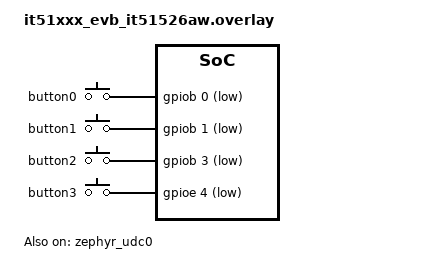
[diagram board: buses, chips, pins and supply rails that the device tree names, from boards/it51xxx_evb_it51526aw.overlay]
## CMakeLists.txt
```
# SPDX-License-Identifier: Apache-2.0

cmake_minimum_required(VERSION 3.20.0)
find_package(Zephyr REQUIRED HINTS $ENV{ZEPHYR_BASE})
project(hid-keyboard)

set(SAMPLE_USBD_DIR ${ZEPHYR_BASE}/samples/subsys/usb/common)
FILE(GLOB app_sources src/*.c)

target_include_directories(app PRIVATE ${SAMPLE_USBD_DIR})

target_sources(app PRIVATE ${app_sources})

target_sources_ifdef(CONFIG_USB_DEVICE_STACK_NEXT app PRIVATE
	${SAMPLE_USBD_DIR}/sample_usbd_init.c
)
```

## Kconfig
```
# Copyright (c) 2023 Nordic Semiconductor ASA
# SPDX-License-Identifier: Apache-2.0

# Source common USB sample options used to initialize new experimental USB
# device stack. You do not need to source this Kconfig file in your custom
# application.
source "samples/subsys/usb/common/Kconfig.sample_usbd"

source "Kconfig.zephyr"
```

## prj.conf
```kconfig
CONFIG_USB_DEVICE_STACK_NEXT=y
CONFIG_USBD_HID_SUPPORT=y

CONFIG_LOG=y
CONFIG_USBD_LOG_LEVEL_WRN=y
CONFIG_USBD_HID_LOG_LEVEL_DBG=y
CONFIG_UDC_DRIVER_LOG_LEVEL_WRN=y
CONFIG_SAMPLE_USBD_PID=0x0007
CONFIG_SAMPLE_USBD_REMOTE_WAKEUP=y

CONFIG_GPIO=y
CONFIG_INPUT=y
```

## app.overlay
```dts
/*
 * Copyright (c) 2023 Nordic Semiconductor ASA
 *
 * SPDX-License-Identifier: Apache-2.0
 */

/ {
	hid_dev_0: hid_dev_0 {
		compatible = "zephyr,hid-device";
		interface-name = "HID0";
		boot-protocol-code = "keyboard";
		polling-rate = <1>;
		in-report-size = <64>;
		out-report-size = <64>;
	};
};
```

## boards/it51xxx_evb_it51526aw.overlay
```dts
/*
 * Copyright (c) 2026 ITE Corporation. All Rights Reserved.
 *
 * SPDX-License-Identifier: Apache-2.0
 */

#include <zephyr/dt-bindings/input/input-event-codes.h>

/ {
	aliases {
		sw0 = &button0;
	};

	buttons {
		compatible = "gpio-keys";

		button0: button_0 {
			gpios = <&gpiob 0 (GPIO_PULL_UP | GPIO_ACTIVE_LOW)>;
			zephyr,code = <INPUT_KEY_0>;
		};
		button1: button_1 {
			gpios = <&gpiob 1 (GPIO_PULL_UP | GPIO_ACTIVE_LOW)>;
			zephyr,code = <INPUT_KEY_1>;
		};
		button2: button_2 {
			gpios = <&gpiob 3 (GPIO_PULL_UP | GPIO_ACTIVE_LOW)>;
			zephyr,code = <INPUT_KEY_2>;
		};
		button3: button_3 {
			gpios = <&gpioe 4 (GPIO_PULL_UP | GPIO_ACTIVE_LOW)>;
			zephyr,code = <INPUT_KEY_3>;
		};
	};

	hid_dev_0: hid_dev_0 {
		compatible = "zephyr,hid-device";
		label = "HID0";
		protocol-code = "keyboard";
		in-report-size = <64>;
		in-polling-period-us = <1000>;
	};
};

&zephyr_udc0 {
	status = "okay";
	pinctrl-0 = <&udc_dm_gpf4_default &udc_dp_gpf5_default>;
	pinctrl-names = "default";
};

&ecpm {
	pll-frequency = <PLL_96000_KHZ>;
};
```

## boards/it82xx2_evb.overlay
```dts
#include <zephyr/dt-bindings/input/input-event-codes.h>

/ {
	buttons {
		compatible = "gpio-keys";

		button_0 {
			gpios = <&gpioa 0 (GPIO_PULL_UP | GPIO_ACTIVE_LOW)>;
			zephyr,code = <INPUT_KEY_0>;
		};
		button_1 {
			gpios = <&gpioa 1 (GPIO_PULL_UP | GPIO_ACTIVE_LOW)>;
			zephyr,code = <INPUT_KEY_1>;
		};
		button_2 {
			gpios = <&gpioa 2 (GPIO_PULL_UP | GPIO_ACTIVE_LOW)>;
			zephyr,code = <INPUT_KEY_2>;
		};
		button_3 {
			gpios = <&gpioa 3 (GPIO_PULL_UP | GPIO_ACTIVE_LOW)>;
			zephyr,code = <INPUT_KEY_3>;
		};
	};

	hid_dev_0: hid_dev_0 {
		compatible = "zephyr,hid-device";
		label = "HID0";
		protocol-code = "keyboard";
		in-report-size = <64>;
		in-polling-period-us = <1000>;
	};
};
```

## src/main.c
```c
/*
 * Copyright (c) 2024 Nordic Semiconductor ASA
 *
 * SPDX-License-Identifier: Apache-2.0
 */

#include <sample_usbd.h>

#include <zephyr/kernel.h>
#include <zephyr/device.h>
#include <zephyr/drivers/gpio.h>
#include <zephyr/input/input.h>

#include <zephyr/usb/usbd.h>
#include <zephyr/usb/class/usbd_hid.h>

#include <zephyr/logging/log.h>
LOG_MODULE_REGISTER(main, LOG_LEVEL_INF);

static const uint8_t hid_report_desc[] = HID_KEYBOARD_REPORT_DESC();

enum kb_leds_idx {
	KB_LED_NUMLOCK = 0,
	KB_LED_CAPSLOCK,
	KB_LED_SCROLLLOCK,
	KB_LED_COUNT,
};

static const struct gpio_dt_spec kb_leds[KB_LED_COUNT] = {
	GPIO_DT_SPEC_GET_OR(DT_ALIAS(led0), gpios, {0}),
	GPIO_DT_SPEC_GET_OR(DT_ALIAS(led1), gpios, {0}),
	GPIO_DT_SPEC_GET_OR(DT_ALIAS(led2), gpios, {0}),
};

enum kb_report_idx {
	KB_MOD_KEY = 0,
	KB_RESERVED,
	KB_KEY_CODE1,
	KB_KEY_CODE2,
	KB_KEY_CODE3,
	KB_KEY_CODE4,
	KB_KEY_CODE5,
	KB_KEY_CODE6,
	KB_REPORT_COUNT,
};

struct kb_event {
	uint16_t code;
	int32_t value;
};

K_MSGQ_DEFINE(kb_msgq, sizeof(struct kb_event), 2, 1);

UDC_STATIC_BUF_DEFINE(report, KB_REPORT_COUNT);
static uint32_t kb_duration;
static bool kb_ready;

static void input_cb(struct input_event *evt, void *user_data)
{
	struct kb_event kb_evt;

	ARG_UNUSED(user_data);

	kb_evt.code = evt->code;
	kb_evt.value = evt->value;
	if (k_msgq_put(&kb_msgq, &kb_evt, K_NO_WAIT) != 0) {
		LOG_ERR("Failed to put new input event");
	}
}

INPUT_CALLBACK_DEFINE(NULL, input_cb, NULL);

static void kb_iface_ready(const struct device *dev, const bool ready)
{
	LOG_INF("HID device %s interface is %s",
		dev->name, ready ? "ready" : "not ready");
	kb_ready = ready;
}

static int kb_get_report(const struct device *dev,
			 const uint8_t type, const uint8_t id, const uint16_t len,
			 uint8_t *const buf)
{
	LOG_WRN("Get Report not implemented, Type %u ID %u", type, id);

	return 0;
}

static int kb_verify_set_report(const struct device *dev, const uint8_t type,
				const uint8_t id, const uint16_t len)
{
	if (type != HID_REPORT_TYPE_OUTPUT) {
		LOG_WRN("Unsupported report type");
		return -ENOTSUP;
	}

	if (id != 0) {
		LOG_ERR("Unsupported report id %d", id);
		return -ENOTSUP;
	}

	if (len != 1) {
		LOG_WRN("Unsupported report length %d", len);
		return -ENOTSUP;
	}

	return 0;
}

static int kb_set_report(const struct device *dev,
			 const uint8_t type, const uint8_t id, const uint16_t len,
			 const uint8_t *const buf)
{
	if (type != HID_REPORT_TYPE_OUTPUT) {
		LOG_WRN("Unsupported report type");
		return -ENOTSUP;
	}

	for (unsigned int i = 0; i < ARRAY_SIZE(kb_leds); i++) {
		if (kb_leds[i].port == NULL) {
			continue;
		}

		(void)gpio_pin_set_dt(&kb_leds[i], buf[0] & BIT(i));
	}

	return 0;
}

/* Idle duration is stored but not used to calculate idle reports. */
static void kb_set_idle(const struct device *dev,
			const uint8_t id, const uint32_t duration)
{
	LOG_INF("Set Idle %u to %u", id, duration);
	kb_duration = duration;
}

static uint32_t kb_get_idle(const struct device *dev, const uint8_t id)
{
	LOG_INF("Get Idle %u to %u", id, kb_duration);
	return kb_duration;
}

static void kb_set_protocol(const struct device *dev, const uint8_t proto)
{
	LOG_INF("Protocol changed to %s",
		proto == 0U ? "Boot Protocol" : "Report Protocol");
}

static void kb_output_report(const struct device *dev, const uint16_t len,
			     const uint8_t *const buf)
{
	LOG_HEXDUMP_DBG(buf, len, "o.r.");
	kb_set_report(dev, HID_REPORT_TYPE_OUTPUT, 0U, len, buf);
}

struct hid_device_ops kb_ops = {
	.iface_ready = kb_iface_ready,
	.get_report = kb_get_report,
	.verify_set_report = kb_verify_set_report,
	.set_report = kb_set_report,
	.set_idle = kb_set_idle,
	.get_idle = kb_get_idle,
	.set_protocol = kb_set_protocol,
	.output_report = kb_output_report,
};

/* doc device msg-cb start */
static void msg_cb(struct usbd_context *const usbd_ctx,
		   const struct usbd_msg *const msg)
{
	LOG_INF("USBD message: %s", usbd_msg_type_string(msg->type));

	if (msg->type == USBD_MSG_CONFIGURATION) {
		LOG_INF("\tConfiguration value %d", msg->status);
	}

	if (usbd_can_detect_vbus(usbd_ctx)) {
		if (msg->type == USBD_MSG_VBUS_READY) {
			if (usbd_enable(usbd_ctx)) {
				LOG_ERR("Failed to enable device support");
			}
		}

		if (msg->type == USBD_MSG_VBUS_REMOVED) {
			if (usbd_disable(usbd_ctx)) {
				LOG_ERR("Failed to disable device support");
			}
		}
	}
}
/* doc device msg-cb end */

int main(void)
{
	struct usbd_context *sample_usbd;
	const struct device *hid_dev;
	int ret;

	for (unsigned int i = 0; i < ARRAY_SIZE(kb_leds); i++) {
		if (kb_leds[i].port == NULL) {
			continue;
		}

		if (!gpio_is_ready_dt(&kb_leds[i])) {
			LOG_ERR("LED device %s is not ready", kb_leds[i].port->name);
			return -EIO;
		}

		ret = gpio_pin_configure_dt(&kb_leds[i], GPIO_OUTPUT_INACTIVE);
		if (ret != 0) {
			LOG_ERR("Failed to configure the LED pin, %d", ret);
			return -EIO;
		}
	}

	hid_dev = DEVICE_DT_GET_ONE(zephyr_hid_device);
	if (!device_is_ready(hid_dev)) {
		LOG_ERR("HID Device is not ready");
		return -EIO;
	}

	ret = hid_device_register(hid_dev,
				  hid_report_desc, sizeof(hid_report_desc),
				  &kb_ops);
	if (ret != 0) {
		LOG_ERR("Failed to register HID Device, %d", ret);
		return ret;
	}

	if (IS_ENABLED(CONFIG_USBD_HID_SET_POLLING_PERIOD)) {
		ret = hid_device_set_in_polling(hid_dev, 1000);
		if (ret) {
			LOG_WRN("Failed to set IN report polling period, %d", ret);
		}

		ret = hid_device_set_out_polling(hid_dev, 1000);
		if (ret != 0 && ret != -ENOTSUP) {
			LOG_WRN("Failed to set OUT report polling period, %d", ret);
		}
	}

	sample_usbd = sample_usbd_init_device(msg_cb);
	if (sample_usbd == NULL) {
		LOG_ERR("Failed to initialize USB device");
		return -ENODEV;
	}

	if (!usbd_can_detect_vbus(sample_usbd)) {
		/* doc device enable start */
		ret = usbd_enable(sample_usbd);
		if (ret) {
			LOG_ERR("Failed to enable device support");
			return ret;
		}
		/* doc device enable end */
	}

	LOG_INF("HID keyboard sample is initialized");

	while (true) {
		struct kb_event kb_evt;

		k_msgq_get(&kb_msgq, &kb_evt, K_FOREVER);

		switch (kb_evt.code) {
		case INPUT_KEY_0:
			if (kb_evt.value) {
				report[KB_KEY_CODE1] = HID_KEY_A;
			} else {
				report[KB_KEY_CODE1] = 0;
			}

			break;
		case INPUT_KEY_1:
			if (kb_evt.value) {
				report[KB_KEY_CODE2] = HID_KEY_B;
			} else {
				report[KB_KEY_CODE2] = 0;
			}

			break;
		case INPUT_KEY_2:
			if (kb_evt.value) {
				report[KB_KEY_CODE3] = HID_KEY_C;
			} else {
				report[KB_KEY_CODE3] = 0;
			}

			break;
		case INPUT_KEY_3:
			if (kb_evt.value) {
				report[KB_KEY_CODE4] = HID_KEY_D;
			} else {
				report[KB_KEY_CODE4] = 0;
			}

			break;
		default:
			LOG_INF("Unrecognized input code %u value %d",
				kb_evt.code, kb_evt.value);
			continue;
		}

		if (!kb_ready) {
			LOG_INF("USB HID device is not ready");
			continue;
		}

		if (IS_ENABLED(CONFIG_SAMPLE_USBD_REMOTE_WAKEUP) &&
		    usbd_is_suspended(sample_usbd)) {
			/* on a press of any button, send wakeup request */
			if (kb_evt.value) {
				ret = usbd_wakeup_request(sample_usbd);
				if (ret) {
					LOG_ERR("Remote wakeup error, %d", ret);
				}
			}
			continue;
		}

		ret = hid_device_submit_report(hid_dev, KB_REPORT_COUNT, report);
		if (ret) {
			LOG_ERR("HID submit report error, %d", ret);
		}
	}

	return 0;
}
```
